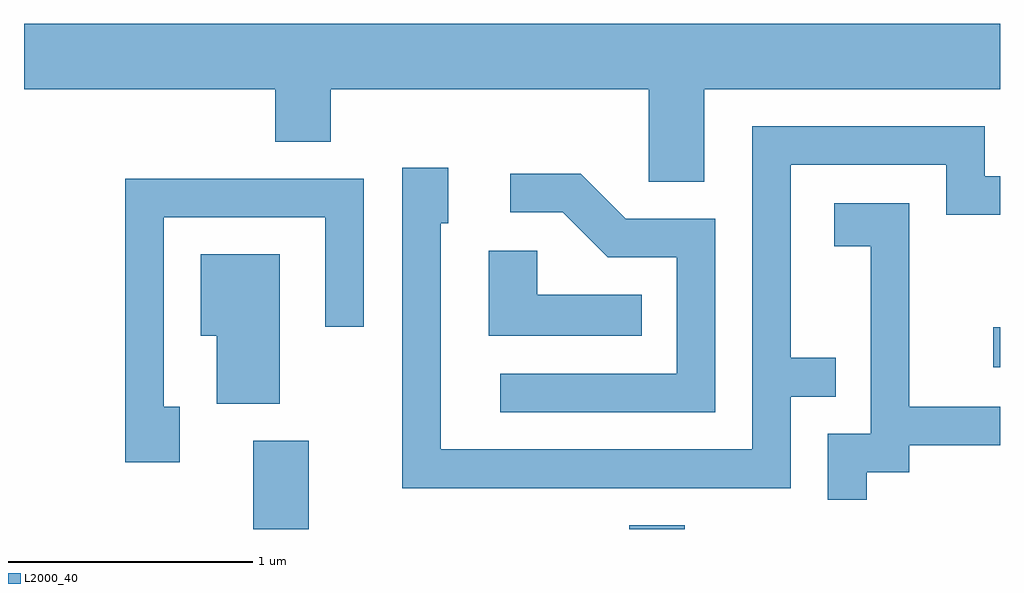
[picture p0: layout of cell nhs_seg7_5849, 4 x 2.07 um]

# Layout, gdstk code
import gdstk
lib = gdstk.Library(unit=1e-6, precision=1e-09)
def R(c, l, rs):  # rectangles x0, y0, x1, y1
    for r in rs: c.add(gdstk.rectangle(r[:2], r[2:], *l))
def P(c, l, *ps):  # polygons
    for p in ps: c.add(gdstk.Polygon(p, *l))
L2000_40 = (2000, 40)

nhs_seg7_5849 = lib.new_cell('nhs_seg7_5849')
R(nhs_seg7_5849, L2000_40, [(364.551,1750.252,364.779,1750.614), (366.091,1750.252,366.319,1750.269), (367.583,1750.916,367.611,1751.079)])
P(nhs_seg7_5849, L2000_40, [(366.399,1752.056),(367.611,1752.056),(367.611,1752.324),(363.611,1752.324),(363.611,1752.056),(364.641,1752.056),(364.641,1751.841),(364.869,1751.841),(364.869,1752.056),(366.171,1752.056),(366.171,1751.676),(366.399,1751.676)],
  [(366.754,1750.796),(366.938,1750.796),(366.938,1750.954),(366.754,1750.954),(366.754,1751.746),(367.391,1751.746),(367.391,1751.541),(367.611,1751.541),(367.611,1751.699),(367.549,1751.699),(367.549,1751.904),(366.596,1751.904),(366.596,1750.579),(365.319,1750.579),(365.319,1751.506),(365.349,1751.506),(365.349,1751.734),(365.161,1751.734),(365.161,1750.421),(366.754,1750.421)],
  [(366.444,1751.524),(366.077,1751.524),(365.892,1751.709),(365.603,1751.709),(365.603,1751.551),(365.819,1751.551),(366.004,1751.366),(366.286,1751.366),(366.286,1750.889),(365.563,1750.889),(365.563,1750.731),(366.444,1750.731)],
  [(364.249,1750.754),(364.184,1750.754),(364.184,1751.531),(364.846,1751.531),(364.846,1751.083),(365.004,1751.083),(365.004,1751.689),(364.026,1751.689),(364.026,1750.526),(364.249,1750.526)],
  [(367.064,1750.486),(367.239,1750.486),(367.239,1750.596),(367.611,1750.596),(367.611,1750.754),(367.239,1750.754),(367.239,1751.589),(366.931,1751.589),(366.931,1751.411),(367.081,1751.411),(367.081,1750.644),(366.906,1750.644),(366.906,1750.373),(367.064,1750.373)],
  [(366.143,1751.214),(365.714,1751.214),(365.714,1751.394),(365.516,1751.394),(365.516,1751.046),(366.143,1751.046)],
  [(364.659,1751.379),(364.336,1751.379),(364.336,1751.046),(364.401,1751.046),(364.401,1750.766),(364.659,1750.766)])

lib.write_gds('nhs_seg7_5849.gds')
